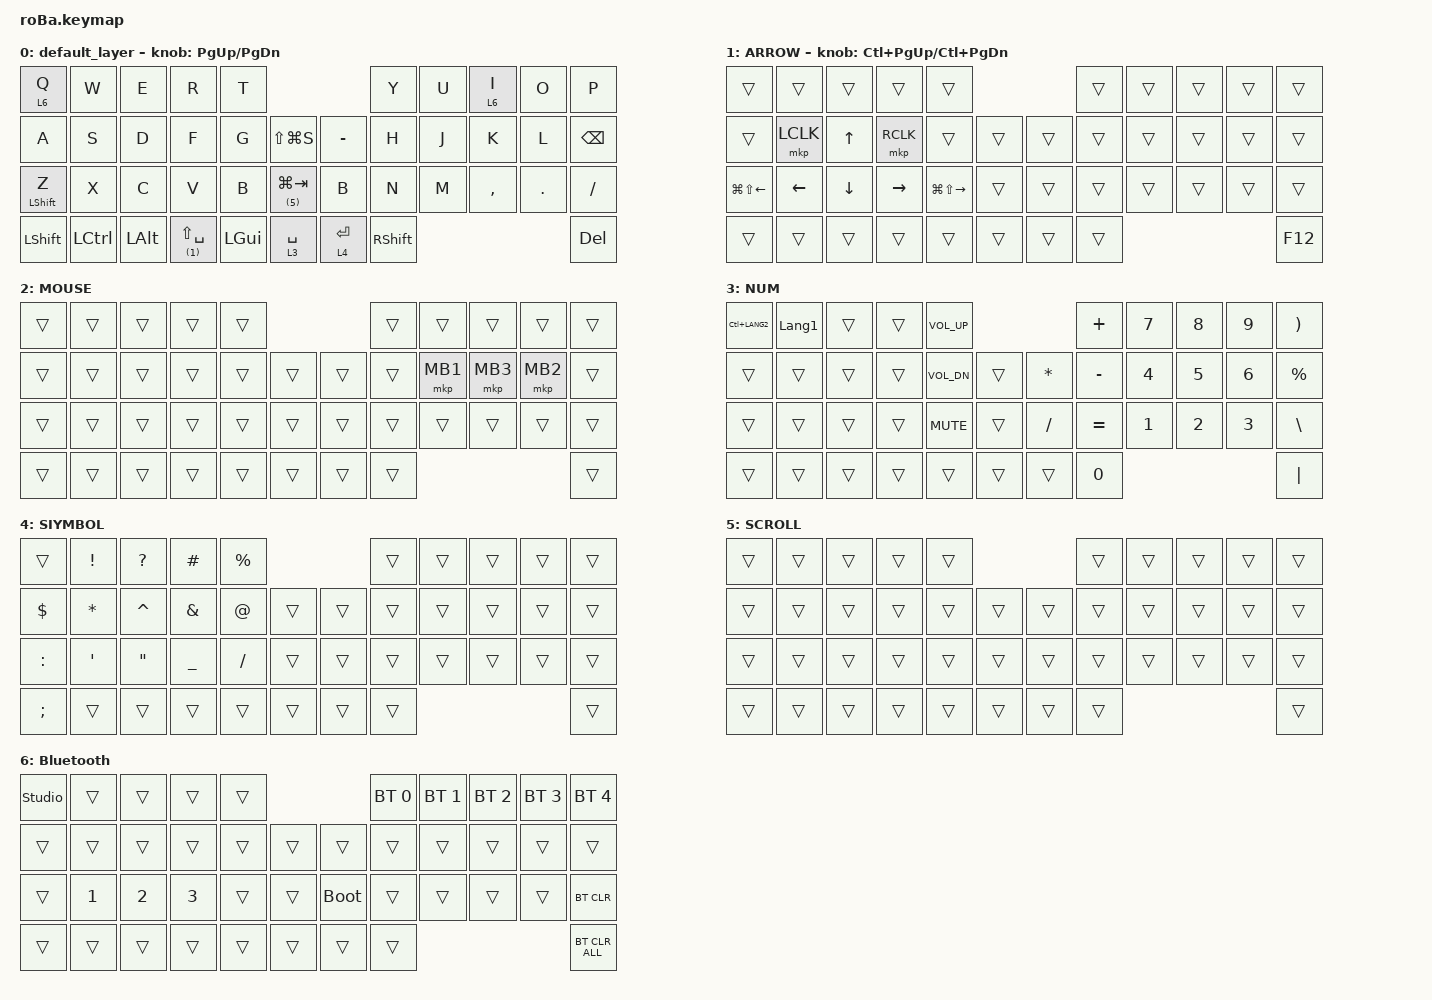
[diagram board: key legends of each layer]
#include <behaviors.dtsi>
#include <dt-bindings/zmk/bt.h>
#include <dt-bindings/zmk/keys.h>
#include <dt-bindings/zmk/pointing.h>

&mt {
    flavor = "balanced";
    quick-tap-ms = <0>;
};

&trackball {
    automouse-layer = <2>;
    scroll-layers = <5>;

    // arrows {
    //     layers = <3>;
    //     bindings =
    //         <&kp RIGHT_ARROW>,
    //         <&kp LEFT_ARROW>,
    //         <&kp UP_ARROW>,
    //         <&kp DOWN_ARROW>;
    //     tick = <10>;
    //     wait-ms = <5>;
    //     tap-ms = <5>;
    // };
};

/ {
    combos {
        compatible = "zmk,combos";

        tab {
            bindings = <&kp TAB>;
            key-positions = <0 1>;
        };

        shift_tab {
            bindings = <&kp LS(TAB)>;
            key-positions = <10 11>;
        };

        double_quotation {
            bindings = <&kp DOUBLE_QUOTES>;
            key-positions = <20 21>;
        };

        eq {
            bindings = <&kp EQUAL>;
            key-positions = <24 25>;
        };

        Bracket {
            bindings = <&Bracket>;
            key-positions = <1 2>;
        };

        Parenthesis {
            bindings = <&Parenthesis>;
            key-positions = <11 12>;
        };

        Than {
            bindings = <&Than>;
            key-positions = <23 24>;
        };

        Brace {
            bindings = <&Brace>;
            key-positions = <35 36>;
        };

        PW {
            bindings = <&PW>;
            key-positions = <9 8>;
        };

        Sleep {
            bindings = <&Sleep>;
            key-positions = <37 38 39>;
        };
    };

    macros {
        to_layer_0: to_layer_0 {
            compatible = "zmk,behavior-macro-one-param";
            #binding-cells = <1>;
            bindings = <&to 0 &macro_param_1to1 &kp MACRO_PLACEHOLDER>;
            label = "TO_LAYER_0";
        };

        Bracket: Bracket {
            compatible = "zmk,behavior-macro";
            #binding-cells = <0>;
            bindings = <&kp LEFT_BRACKET &kp RIGHT_BRACKET>;
            label = "BRACKET";
        };

        Parenthesis: Parenthesis {
            compatible = "zmk,behavior-macro";
            #binding-cells = <0>;
            bindings = <&kp LEFT_PARENTHESIS &kp RIGHT_PARENTHESIS>;
            label = "PARENTHESIS";
        };

        Than: Than {
            compatible = "zmk,behavior-macro";
            #binding-cells = <0>;
            bindings = <&kp LESS_THAN &kp GREATER_THAN>;
            label = "THAN";
        };

        Brace: Curly {
            compatible = "zmk,behavior-macro";
            #binding-cells = <0>;
            bindings = <&kp LEFT_BRACE &kp RIGHT_BRACE>;
            label = "CURLY";
        };

        PW: PW {
            compatible = "zmk,behavior-macro";
            #binding-cells = <0>;
            bindings = <&kp K &kp A &kp G &kp A &kp Y &kp A &kp M &kp A &kp BACKSLASH &kp BACKSLASH &kp N5 &kp NUMBER_6 &kp N7 &kp N8 &kp N9>;
            label = "PW";
        };

        Sleep: Sleep {
            compatible = "zmk,behavior-macro";
            #binding-cells = <0>;
            bindings = <&kp LC(LG(Q))>;
            label = "SLEEP";
        };
    };

    behaviors {
        lt_to_layer_0: lt_to_layer_0 {
            compatible = "zmk,behavior-hold-tap";
            label = "LAYER_TAP_TO_0";
            bindings = <&mo>, <&to_layer_0>;

            #binding-cells = <2>;
            tapping-term-ms = <200>;
        };
    };

    keymap {
        compatible = "zmk,keymap";

        default_layer {
            bindings = <
&lt_to_layer_0 6 Q  &kp W             &kp E         &kp R                         &kp T                                                                 &kp Y            &kp U  &lt 6 I    &kp O    &kp P
&kp A               &kp S             &kp D         &kp F                         &kp G         &kp LS(LG(S))                   &kp MINUS               &kp H            &kp J  &kp K      &kp L    &kp BACKSPACE
&mt LEFT_SHIFT Z    &kp X             &kp C         &kp V                         &kp B         &lt_to_layer_0 (5) LG(TAB)      &kp B                   &kp N            &kp M  &kp COMMA  &kp DOT  &kp SLASH
&kp LEFT_SHIFT      &kp LEFT_CONTROL  &kp LEFT_ALT  &lt_to_layer_0 (1) LS(SPACE)  &kp LEFT_GUI  &lt_to_layer_0 3 SPACE          &lt_to_layer_0 4 ENTER  &kp RIGHT_SHIFT                             &kp DEL
            >;

            sensor-bindings = <&inc_dec_kp PG_UP PAGE_DOWN>;
        };

        ARROW {
            bindings = <
&trans                  &trans          &trans          &trans           &trans                                       &trans  &trans  &trans  &trans  &trans
&trans                  &mkp LCLK       &kp UP_ARROW    &mkp RCLK        &trans                   &trans      &trans  &trans  &trans  &trans  &trans  &trans
&kp LG(LS(LEFT_ARROW))  &kp LEFT_ARROW  &kp DOWN_ARROW  &kp RIGHT_ARROW  &kp LG(LS(RIGHT_ARROW))  &trans      &trans  &trans  &trans  &trans  &trans  &trans
&trans                  &trans          &trans          &trans           &trans                   &trans      &trans  &trans                          &kp F12
            >;

            sensor-bindings = <&inc_dec_kp LC(PAGE_UP) LC(PAGE_DOWN)>;
        };

        MOUSE {
            bindings = <
&trans  &trans  &trans  &trans  &trans                      &trans  &trans    &trans    &trans    &trans
&trans  &trans  &trans  &trans  &trans  &trans      &trans  &trans  &mkp MB1  &mkp MB3  &mkp MB2  &trans
&trans  &trans  &trans  &trans  &trans  &trans      &trans  &trans  &trans    &trans    &trans    &trans
&trans  &trans  &trans  &trans  &trans  &trans      &trans  &trans                                &trans
            >;
        };

        NUM {
            bindings = <
&kp LC(LANG2)  &kp LANGUAGE_1  &trans  &trans  &kp C_VOL_UP                         &kp PLUS   &kp N7        &kp N8        &kp N9        &kp RIGHT_PARENTHESIS
&trans         &trans          &trans  &trans  &kp C_VOL_DN  &trans      &kp ASTRK  &kp MINUS  &kp NUMBER_4  &kp N5        &kp NUMBER_6  &kp PERCENT
&trans         &trans          &trans  &trans  &kp C_MUTE    &trans      &kp SLASH  &kp EQUAL  &kp NUMBER_1  &kp NUMBER_2  &kp NUMBER_3  &kp BACKSLASH
&trans         &trans          &trans  &trans  &trans        &trans      &trans     &kp N0                                               &kp PIPE
            >;
        };

        SIYMBOL {
            bindings = <
&trans         &kp EXCLAMATION   &kp QUESTION       &kp HASH       &kp PERCENT                      &trans  &trans  &trans  &trans  &trans
&kp DOLLAR     &kp ASTERISK      &kp CARET          &kp AMPERSAND  &kp AT_SIGN  &trans      &trans  &trans  &trans  &trans  &trans  &trans
&kp COLON      &kp SINGLE_QUOTE  &kp DOUBLE_QUOTES  &kp UNDER      &kp SLASH    &trans      &trans  &trans  &trans  &trans  &trans  &trans
&kp SEMICOLON  &trans            &trans             &trans         &trans       &trans      &trans  &trans                          &trans
            >;
        };

        SCROLL {
            bindings = <
&trans  &trans  &trans  &trans  &trans                      &trans  &trans  &trans  &trans  &trans
&trans  &trans  &trans  &trans  &trans  &trans      &trans  &trans  &trans  &trans  &trans  &trans
&trans  &trans  &trans  &trans  &trans  &trans      &trans  &trans  &trans  &trans  &trans  &trans
&trans  &trans  &trans  &trans  &trans  &trans      &trans  &trans                          &trans
            >;
        };

        Bluetooth {
            bindings = <
&studio_unlock  &trans        &trans        &trans        &trans                           &bt BT_SEL 0  &bt BT_SEL 1  &bt BT_SEL 2  &bt BT_SEL 3  &bt BT_SEL 4
&trans          &trans        &trans        &trans        &trans  &trans      &trans       &trans        &trans        &trans        &trans        &trans
&trans          &kp NUMBER_1  &kp NUMBER_2  &kp NUMBER_3  &trans  &trans      &bootloader  &trans        &trans        &trans        &trans        &bt BT_CLR
&trans          &trans        &trans        &trans        &trans  &trans      &trans       &trans                                                  &bt BT_CLR_ALL
            >;
        };
    };
};
